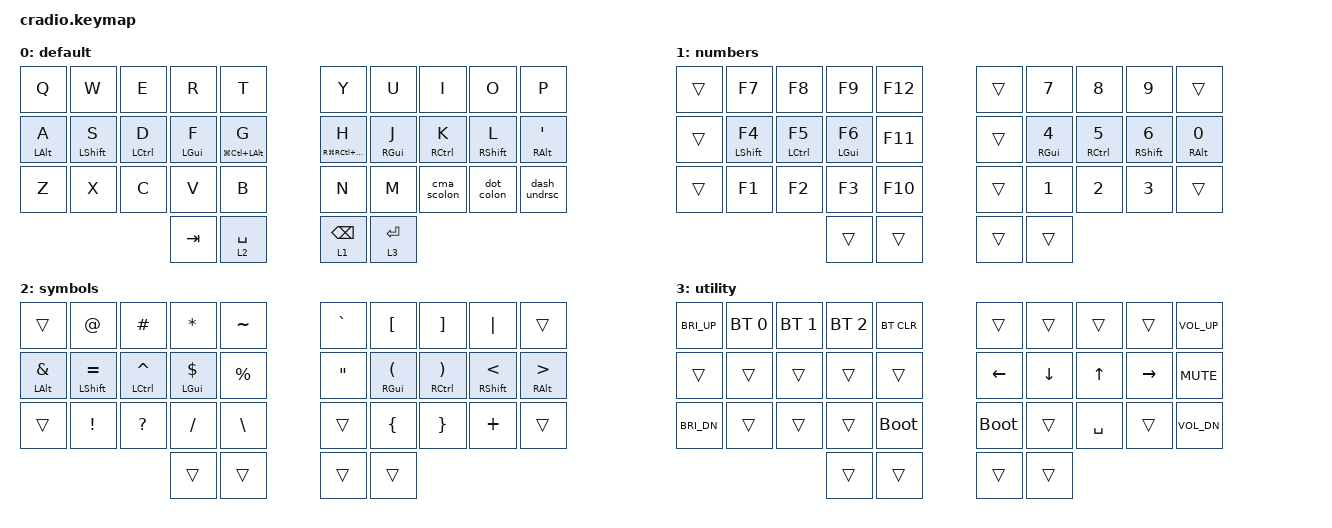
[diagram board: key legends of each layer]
// Copyright (c) 2022 The ZMK Contributors
// SPDX-License-Identifier: MIT

#include <behaviors.dtsi>
#include <dt-bindings/zmk/bt.h>
#include <dt-bindings/zmk/keys.h>

&lt {
    tapping-term-ms = <300>;
    quick-tap-ms = <100>;
    require-prior-idle-ms = <0>;
    flavor = "balanced";
};

&caps_word { continue-list = <UNDERSCORE BACKSPACE>; };

&sk { quick-release; };

/ {
    behaviors {
        dot_colon: dot_colon {
            compatible = "zmk,behavior-mod-morph";
            #binding-cells = <0>;
            bindings = <&kp DOT>, <&kp COLON>;

            mods = <(MOD_LSFT)>;
        };

        cma_scolon: comma_semicolon {
            compatible = "zmk,behavior-mod-morph";
            #binding-cells = <0>;
            bindings = <&kp COMMA>, <&kp SEMI>;

            mods = <(MOD_LSFT|MOD_RSFT)>;
        };

        dash_undrsc: dash_underscore {
            compatible = "zmk,behavior-mod-morph";
            #binding-cells = <0>;
            bindings = <&kp MINUS>, <&kp UNDER>;

            mods = <(MOD_LSFT)>;
        };

        mtr: mod_tap_right {
            compatible = "zmk,behavior-hold-tap";
            label = "mod tap right";
            bindings = <&kp>, <&kp>;

            #binding-cells = <2>;
            tapping-term-ms = <300>;
            quick-tap-ms = <100>;
            require-prior-idle-ms = <100>;
            flavor = "balanced";
            hold-trigger-key-positions = <4 14 24 31 30 23 13 3 2 12 22 21 11 10 0 1 20 0 1 2 3 4 10 11 12 13 14 20 21 22 23 24 30 31>;
            hold-trigger-on-release;
        };

        mtl: mod_tap_left {
            compatible = "zmk,behavior-hold-tap";
            label = "mod tap left";
            bindings = <&kp>, <&kp>;

            #binding-cells = <2>;
            tapping-term-ms = <300>;
            quick-tap-ms = <100>;
            require-prior-idle-ms = <100>;
            flavor = "balanced";
            hold-trigger-on-release;
            hold-trigger-key-positions = <17 5 6 7 8 9 15 16 17 18 19 25 26 27 28 29 32 33>;
        };

        mtr_shift: mtr_shift {
            compatible = "zmk,behavior-hold-tap";
            label = "MTR_SHIFT";
            bindings = <&kp>, <&kp>;

            #binding-cells = <2>;
            tapping-term-ms = <300>;
            quick-tap-ms = <100>;
            require-prior-idle-ms = <0>;
            flavor = "balanced";
            hold-trigger-key-positions = <4 14 24 31 30 23 13 3 2 12 22 21 11 10 0 1 20 0 1 2 3 4 10 11 12 13 14 20 21 22 23 24 30 31>;
            hold-trigger-on-release;
        };

        mtl_shift: mtl_shift {
            compatible = "zmk,behavior-hold-tap";
            label = "MTL_SHIFT";
            bindings = <&kp>, <&kp>;

            #binding-cells = <2>;
            tapping-term-ms = <300>;
            quick-tap-ms = <100>;
            require-prior-idle-ms = <0>;
            flavor = "balanced";
            hold-trigger-on-release;
            hold-trigger-key-positions = <17 5 6 7 8 9 15 16 17 18 19 25 26 27 28 29 32 33>;
        };
    };

    combos {
        compatible = "zmk,combos";

        esc {
            bindings = <&kp ESCAPE>;
            key-positions = <11 12>;
            require-prior-idle-ms = <100>;
            layers = <0>;
        };

        caps_word {
            bindings = <&caps_word>;
            key-positions = <17 18>;
        };

        globe {
            bindings = <&kp GLOBE>;
            key-positions = <20 21>;
        };

        bootloader_l {
            bindings = <&bootloader>;
            key-positions = <10 11 12 13 14>;
        };

        bootloader_r {
            bindings = <&bootloader>;
            key-positions = <15 16 17 18 19>;
        };
    };

    keymap {
        compatible = "zmk,keymap";

        default {
            bindings = <
&kp Q        &kp W               &kp E         &kp R        &kp T                          &kp Y        &kp U         &kp I         &kp O           &kp P
&mtl LALT A  &mtl_shift LSHFT S  &mtl LCTRL D  &mtl LGUI F  &mtl LG(LC(LALT)) G            &mtr RG(RC(RALT)) H        &mtr RGUI J   &mtr RCTRL K    &mtr_shift RSHFT L  &mtr RALT SQT
&kp Z        &kp X               &kp C         &kp V        &kp B                          &kp N        &kp M         &cma_scolon   &dot_colon      &dash_undrsc
                                               &kp TAB      &lt 2 SPACE                    &lt 1 BSPC   &lt 3 RETURN
            >;
        };

        numbers {
            bindings = <
&trans  &kp F7         &kp F8         &kp F9        &kp F12    &trans  &kp N7        &kp N8         &kp N9         &trans
&trans  &mtl LSHFT F4  &mtl LCTRL F5  &mtl LGUI F6  &kp F11    &trans  &mtr RGUI N4  &mtr RCTRL N5  &mtr RSHFT N6  &mtr RALT N0
&trans  &kp F1         &kp F2         &kp F3        &kp F10    &trans  &kp N1        &kp N2         &kp N3         &trans
                                      &trans        &trans     &trans  &trans
            >;
        };

        symbols {
            bindings = <
&trans               &kp AT_SIGN       &kp HASH          &kp STAR          &kp TILDE        &kp GRAVE          &kp LBKT                    &kp RBKT         &kp PIPE       &trans
&mtl LALT AMPERSAND  &mtl LSHFT EQUAL  &mtl LCTRL CARET  &mtl LGUI DOLLAR  &kp PRCNT        &kp DOUBLE_QUOTES  &mtr RGUI LEFT_PARENTHESIS  &mtr RCTRL RPAR  &mtr RSHFT LT  &mtr RALT GT
&trans               &kp EXCL          &kp QMARK         &kp SLASH         &kp BACKSLASH    &trans             &kp LBRC                    &kp RBRC         &kp PLUS       &trans
                                                         &trans            &trans           &trans             &trans
            >;
        };

        utility {
            bindings = <
&kp C_BRI_UP  &bt BT_SEL 0  &bt BT_SEL 1  &bt BT_SEL 2  &bt BT_CLR     &trans       &trans    &trans     &trans           &kp C_VOL_UP
&trans        &trans        &trans        &trans        &trans         &kp LEFT     &kp DOWN  &kp UP     &kp RIGHT_ARROW  &kp K_MUTE
&kp C_BRI_DN  &trans        &trans        &trans        &bootloader    &bootloader  &trans    &kp SPACE  &trans           &kp C_VOL_DN
                                          &trans        &trans         &trans       &trans
            >;
        };
    };

    conditional_layers { compatible = "zmk,conditional-layers"; };
};

